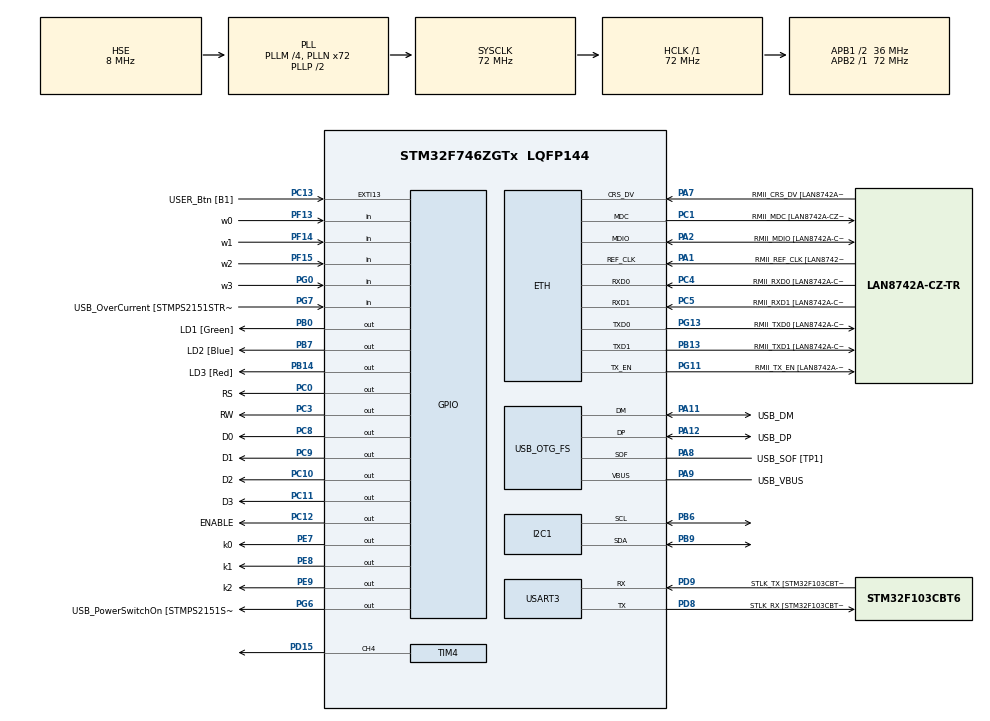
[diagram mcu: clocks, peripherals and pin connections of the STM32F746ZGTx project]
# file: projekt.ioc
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ETH.MediaInterface=HAL_ETH_RMII_MODE
ETH.PHY_Name=LAN8742A_PHY_ADDRESS
ETH.PHY_Value=0
ETH.PhyAddress=0
I2C1.Timing=0x00808CD2
Mcu.Family=STM32F7
Mcu.Name=STM32F746ZGTx
Mcu.Package=LQFP144
NVIC.PriorityGroup=NVIC_PRIORITYGROUP_4
NVIC.TIM4_IRQn=true\:0\:0\:false\:false\:true\:true\:true\:true
NVIC.TIM6_DAC_IRQn=true\:0\:0\:false\:false\:true\:true\:true\:true
NVIC.USART3_IRQn=true\:0\:0\:false\:false\:true\:true\:true\:true
PA1.GPIO_Label=RMII_REF_CLK [LAN8742A-CZ-TR_REFCLK0]
PA1.Mode=RMII
PA1.Signal=ETH_REF_CLK
PA10.GPIO_Label=USB_ID
PA10.Signal=USB_OTG_FS_ID
PA11.GPIO_Label=USB_DM
PA11.Mode=Device_Only
PA11.Signal=USB_OTG_FS_DM
PA12.GPIO_Label=USB_DP
PA12.Mode=Device_Only
PA12.Signal=USB_OTG_FS_DP
PA13.GPIO_Label=TMS
PA13.Mode=Serial_Wire
PA13.Signal=SYS_JTMS-SWDIO
PA14.GPIO_Label=TCK
PA14.Mode=Serial_Wire
PA14.Signal=SYS_JTCK-SWCLK
PA2.GPIO_Label=RMII_MDIO [LAN8742A-CZ-TR_MDIO]
PA2.Mode=RMII
PA2.Signal=ETH_MDIO
PA7.GPIO_Label=RMII_CRS_DV [LAN8742A-CZ-TR_CRS_DV]
PA7.Mode=RMII
PA7.Signal=ETH_CRS_DV
PA8.GPIO_Label=USB_SOF [TP1]
PA8.Mode=Activate_SOF_FS
PA8.Signal=USB_OTG_FS_SOF
PA9.GPIO_Label=USB_VBUS
PA9.Mode=Activate_VBUS
PA9.Signal=USB_OTG_FS_VBUS
PB0.GPIO_Label=LD1 [Green]
PB0.Signal=GPIO_Output
PB13.GPIO_Label=RMII_TXD1 [LAN8742A-CZ-TR_TXD1]
PB13.Mode=RMII
PB13.Signal=ETH_TXD1
PB14.GPIO_Label=LD3 [Red]
PB14.Signal=GPIO_Output
PB3.GPIO_Label=SW0
PB3.Signal=SYS_JTDO-SWO
PB6.Mode=I2C
PB6.Signal=I2C1_SCL
PB7.GPIO_Label=LD2 [Blue]
PB7.Signal=GPIO_Output
PB9.Mode=I2C
PB9.Signal=I2C1_SDA
PC0.GPIO_Label=RS
PC0.Signal=GPIO_Output
PC1.GPIO_Label=RMII_MDC [LAN8742A-CZ-TR_MDC]
PC1.Mode=RMII
PC1.Signal=ETH_MDC
PC10.GPIO_Label=D2
PC10.Signal=GPIO_Output
PC11.GPIO_Label=D3
PC11.Signal=GPIO_Output
PC12.GPIO_Label=ENABLE
PC12.Signal=GPIO_Output
PC13.GPIO_Label=USER_Btn [B1]
PC13.Signal=GPXTI13
PC14/OSC32_IN.Mode=LSE-External-Oscillator
PC14/OSC32_IN.Signal=RCC_OSC32_IN
PC15/OSC32_OUT.Mode=LSE-External-Oscillator
PC15/OSC32_OUT.Signal=RCC_OSC32_OUT
PC3.GPIO_Label=RW
PC3.Signal=GPIO_Output
PC4.GPIO_Label=RMII_RXD0 [LAN8742A-CZ-TR_RXD0]
PC4.Mode=RMII
PC4.Signal=ETH_RXD0
PC5.GPIO_Label=RMII_RXD1 [LAN8742A-CZ-TR_RXD1]
PC5.Mode=RMII
PC5.Signal=ETH_RXD1
PC8.GPIO_Label=D0
PC8.Signal=GPIO_Output
PC9.GPIO_Label=D1
PC9.Signal=GPIO_Output
PD15.Signal=S_TIM4_CH4
PD8.GPIO_Label=STLK_RX [STM32F103CBT6_PA3]
PD8.GPIO_PuPd=GPIO_PULLUP
PD8.Mode=Asynchronous
PD8.Signal=USART3_TX
PD9.GPIO_Label=STLK_TX [STM32F103CBT6_PA2]
PD9.GPIO_PuPd=GPIO_PULLUP
PD9.Mode=Asynchronous
PD9.Signal=USART3_RX
PE7.GPIO_Label=k0
PE7.Signal=GPIO_Output
PE8.GPIO_Label=k1
PE8.Signal=GPIO_Output
PE9.GPIO_Label=k2
PE9.Signal=GPIO_Output
PF13.GPIO_Label=w0
PF13.GPIO_PuPd=GPIO_PULLDOWN
PF13.Signal=GPIO_Input
PF14.GPIO_Label=w1
PF14.GPIO_PuPd=GPIO_PULLDOWN
PF14.Signal=GPIO_Input
PF15.GPIO_Label=w2
PF15.GPIO_PuPd=GPIO_PULLDOWN
PF15.Signal=GPIO_Input
PG0.GPIO_Label=w3
PG0.GPIO_PuPd=GPIO_PULLDOWN
PG0.Signal=GPIO_Input
PG11.GPIO_Label=RMII_TX_EN [LAN8742A-CZ-TR_TXEN]
PG11.Mode=RMII
PG11.Signal=ETH_TX_EN
PG13.GPIO_Label=RMII_TXD0 [LAN8742A-CZ-TR_TXD0]
PG13.Mode=RMII
PG13.Signal=ETH_TXD0
PG6.GPIO_Label=USB_PowerSwitchOn [STMPS2151STR_EN]
PG6.Signal=GPIO_Output
PG7.GPIO_Label=USB_OverCurrent [STMPS2151STR_FAULT]
PG7.Signal=GPIO_Input
PH0/OSC_IN.GPIO_Label=MCO [STM32F103CBT6_PA8]
PH0/OSC_IN.Mode=HSE-External-Clock-Source
PH0/OSC_IN.Signal=RCC_OSC_IN
PH1/OSC_OUT.Mode=HSE-External-Clock-Source
PH1/OSC_OUT.Signal=RCC_OSC_OUT
ProjectManager.HeapSize=0x200
ProjectManager.StackSize=0x400
ProjectManager.TargetToolchain=STM32CubeIDE
RCC.48MHZClocksFreq_Value=24000000
RCC.AHBFreq_Value=72000000
RCC.APB1CLKDivider=RCC_HCLK_DIV2
RCC.APB1Freq_Value=36000000
RCC.APB1TimFreq_Value=72000000
RCC.APB2Freq_Value=72000000
RCC.APB2TimFreq_Value=72000000
RCC.CortexFreq_Value=72000000
RCC.HCLKFreq_Value=72000000
RCC.HSE_VALUE=8000000
RCC.HSI_VALUE=16000000
RCC.PLLM=4
RCC.PLLMUL=RCC_PLL_MUL9
RCC.PLLN=72
RCC.PLLQ=3
RCC.PRESCALERUSB=RCC_USBCLKSOURCE_PLL_DIV1_5
RCC.SYSCLKFreq_VALUE=72000000
RCC.SYSCLKSource=RCC_SYSCLKSOURCE_PLLCLK
RCC.SYSCLKSourceVirtual=RCC_SYSCLKSOURCE_PLLCLK
RCC.USBFreq_Value=48000000
RCC.VCOOutputFreq_Value=144000000
SH.S_TIM4_CH4.0=TIM4_CH4,PWM Generation4 CH4
TIM4.Channel-PWM\ Generation4\ CH4=TIM_CHANNEL_4
TIM4.Period=4999
TIM4.Prescaler=71
TIM4.Pulse-PWM\ Generation4\ CH4=500
TIM6.Period=2249
TIM6.Prescaler=15999
USART3.VirtualMode-Asynchronous=VM_ASYNC
USB_OTG_FS.VirtualMode=Device_Only
VP_TIM6_VS_ClockSourceINT.Mode=Enable_Timer
board=NUCLEO-F746ZG

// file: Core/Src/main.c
/* USER CODE BEGIN Header */
/**
  ******************************************************************************
  * @file           : main.c
  * @brief          : Main program body
  ******************************************************************************
  * @attention
  *
  * Copyright (c) 2024 STMicroelectronics.
  * All rights reserved.
  *
  * This software is licensed under terms that can be found in the LICENSE file
  * in the root directory of this software component.
  * If no LICENSE file comes with this software, it is provided AS-IS.
  *
  ******************************************************************************
  */
/* USER CODE END Header */
#include "main.h"
#include "eth.h"
#include "i2c.h"
#include "tim.h"
#include "usart.h"
#include "usb_otg.h"
#include "gpio.h"

/* USER CODE BEGIN Includes */
#include "LiquidCrystal.h"
#include "bmp280.h"
/* USER CODE END Includes */

/* USER CODE BEGIN PV */
BMP280_HandleTypedef bmp280;
uint16_t size;
float temperatura, cisnienie, wilgotnosc;
uint8_t dane[50];

uint8_t temp[2];
float y[2] = {0, 0};
float u[2] = {0, 0};
float tempz = 35;
float uchyb;

bool t[12] = {0,0,0,0,0,0,0,0,0,0,0,0};
int c[2]={0,0};
int j=0;

/* USER CODE END PV */

void SystemClock_Config(void);

int main(void)
{

  /* MCU Configuration--------------------------------------------------------*/

  /* Reset of all peripherals, Initializes the Flash interface and the Systick. */
  HAL_Init();

  /* Configure the system clock */
  SystemClock_Config();

  /* Initialize all configured peripherals */
  MX_GPIO_Init();
  MX_ETH_Init();
  MX_USART3_UART_Init();
  MX_USB_OTG_FS_PCD_Init();
  MX_I2C1_Init();
  MX_TIM4_Init();
  MX_TIM6_Init();
  /* USER CODE BEGIN 2 */
  LiquidCrystal(GPIOC, RS_Pin, RW_Pin, ENABLE_Pin, D0_Pin, D1_Pin, D2_Pin, D3_Pin);

  bmp280_init_default_params(&bmp280.params);
  bmp280.addr = BMP280_I2C_ADDRESS_0;
  bmp280.i2c = &hi2c1;
  bmp280_init(&bmp280, &bmp280.params);
  HAL_TIM_PWM_Start(&htim4, TIM_CHANNEL_4);
  __HAL_TIM_SET_COMPARE(&htim4, TIM_CHANNEL_4, 2500);

  int wypelnienie;
  char* tekst;

  HAL_UART_Receive_IT(&huart3, &temp, 2);

  /* USER CODE END 2 */

  /* Infinite loop */
  while (1)
  {

    /* USER CODE BEGIN 3 */
	HAL_Delay(500);

	while(!bmp280_read_float(&bmp280, &temperatura, &cisnienie, &wilgotnosc)){
	size = sprintf((char *)dane, "czujnik wybuch\n");
	HAL_UART_Transmit(&huart3, dane, size, 1000);
	}
	size = sprintf((char *)dane, "Obecna temperatura: %.2f \r\n", temperatura);

	HAL_UART_Transmit(&huart3, dane, size, 1000);

	size = sprintf((char *)dane, "Zadana temperatura: %.2f \r\n", tempz);

	HAL_UART_Transmit(&huart3, dane, size, 1000);

	size = sprintf((char *)dane, "Sygnal sterujacy: %.2f \r\n", y[0]);

	HAL_UART_Transmit(&huart3, dane, size, 1000);

	u[1] = u[0];

	y[1] = y[0];

	uchyb=tempz-temperatura;
	u[0] = uchyb;
	y[0] = 0.212*u[0]-0.21*u[1]+y[1];
	if(y[0]>12) y[0]=12;
	if(y[0]<0) y[0]=-1;
	wypelnienie=(5000*y[0])/12;
	__HAL_TIM_SET_COMPARE(&htim4, TIM_CHANNEL_4, wypelnienie);

	sprintf(*tekst, "%.2f", temperatura);
	setCursor(0, 0);
	print(*tekst);
	sprintf(*tekst, "%.2f", y[0]);
	setCursor(0, 1);
	print(*tekst);
	sprintf(*tekst, "%.2f", tempz);
	setCursor(6, 0);
	print(*tekst);

	setCursor(5, 0);
	print(" ");

	//klawiatura wybucha
	HAL_GPIO_WritePin(k0_GPIO_Port, k0_Pin, 1);
	t[0]=HAL_GPIO_ReadPin(w0_GPIO_Port, w0_Pin);
	t[3]=HAL_GPIO_ReadPin(w1_GPIO_Port, w1_Pin);
	t[6]=HAL_GPIO_ReadPin(w2_GPIO_Port, w2_Pin);
	t[9]=HAL_GPIO_ReadPin(w3_GPIO_Port, w3_Pin);
	HAL_GPIO_WritePin(k0_GPIO_Port, k0_Pin, 0);

	HAL_GPIO_WritePin(k1_GPIO_Port, k1_Pin, 1);
	t[1]=HAL_GPIO_ReadPin(w0_GPIO_Port, w0_Pin);
	t[4]=HAL_GPIO_ReadPin(w1_GPIO_Port, w1_Pin);
	t[7]=HAL_GPIO_ReadPin(w2_GPIO_Port, w2_Pin);
	t[10]=HAL_GPIO_ReadPin(w3_GPIO_Port, w3_Pin);
	HAL_GPIO_WritePin(k1_GPIO_Port, k1_Pin, 0);

	HAL_GPIO_WritePin(k2_GPIO_Port, k2_Pin, 1);
	t[2]=HAL_GPIO_ReadPin(w0_GPIO_Port, w0_Pin);
	t[5]=HAL_GPIO_ReadPin(w1_GPIO_Port, w1_Pin);
	t[8]=HAL_GPIO_ReadPin(w2_GPIO_Port, w2_Pin);
	t[11]=HAL_GPIO_ReadPin(w3_GPIO_Port, w3_Pin);
	HAL_GPIO_WritePin(k2_GPIO_Port, k2_Pin, 0);

	if(t[11]==1){
		setCursor(0, 0);
		print("wybuch");
	}

	for(int i=0; i<10; i++){
		if(t[i] == 1 ){
			c[j]=i;
			j=1;
		}
	}

	if(t[10]==1){
		int z=c[0]*10 + c[1];
		if(z>20 && z<60){
			sprintf(z, "%.2f");
			tempz=z;
		}
		c[0]=0;
		c[1]=0;
		j=0;
	}
  }
  /* USER CODE END 3 */
}

void SystemClock_Config(void)
{
  RCC_OscInitTypeDef RCC_OscInitStruct = {0};
  RCC_ClkInitTypeDef RCC_ClkInitStruct = {0};

  /** Configure LSE Drive Capability
  */
  HAL_PWR_EnableBkUpAccess();

  /** Configure the main internal regulator output voltage
  */
  __HAL_RCC_PWR_CLK_ENABLE();
  __HAL_PWR_VOLTAGESCALING_CONFIG(PWR_REGULATOR_VOLTAGE_SCALE3);

  /** Initializes the RCC Oscillators according to the specified parameters
  * in the RCC_OscInitTypeDef structure.
  */
  RCC_OscInitStruct.OscillatorType = RCC_OSCILLATORTYPE_HSE;
  RCC_OscInitStruct.HSEState = RCC_HSE_BYPASS;
  RCC_OscInitStruct.PLL.PLLState = RCC_PLL_ON;
  RCC_OscInitStruct.PLL.PLLSource = RCC_PLLSOURCE_HSE;
  RCC_OscInitStruct.PLL.PLLM = 4;
  RCC_OscInitStruct.PLL.PLLN = 72;
  RCC_OscInitStruct.PLL.PLLP = RCC_PLLP_DIV2;
  RCC_OscInitStruct.PLL.PLLQ = 3;
  if (HAL_RCC_OscConfig(&RCC_OscInitStruct) != HAL_OK)
  {
    Error_Handler();
  }

  /** Initializes the CPU, AHB and APB buses clocks
  */
  RCC_ClkInitStruct.ClockType = RCC_CLOCKTYPE_HCLK|RCC_CLOCKTYPE_SYSCLK
                              |RCC_CLOCKTYPE_PCLK1|RCC_CLOCKTYPE_PCLK2;
  RCC_ClkInitStruct.SYSCLKSource = RCC_SYSCLKSOURCE_PLLCLK;
  RCC_ClkInitStruct.AHBCLKDivider = RCC_SYSCLK_DIV1;
  RCC_ClkInitStruct.APB1CLKDivider = RCC_HCLK_DIV2;
  RCC_ClkInitStruct.APB2CLKDivider = RCC_HCLK_DIV1;

  if (HAL_RCC_ClockConfig(&RCC_ClkInitStruct, FLASH_LATENCY_2) != HAL_OK)
  {
    Error_Handler();
  }
}

/* USER CODE BEGIN 4 */
void HAL_UART_RxCpltCallback(UART_HandleTypeDef *huart){
	int ed;

	if(huart->Instance == USART3)
	{
		ed=10*(temp[0]-48)+(temp[1]-48);
		if(ed>20 && ed<60){
			tempz = ed;
		}
	}

	HAL_UART_Receive_IT(&huart3, &temp, 2);
}
/* USER CODE END 4 */

void Error_Handler(void)
{
  __disable_irq();
  while (1)
  {
  }
}
